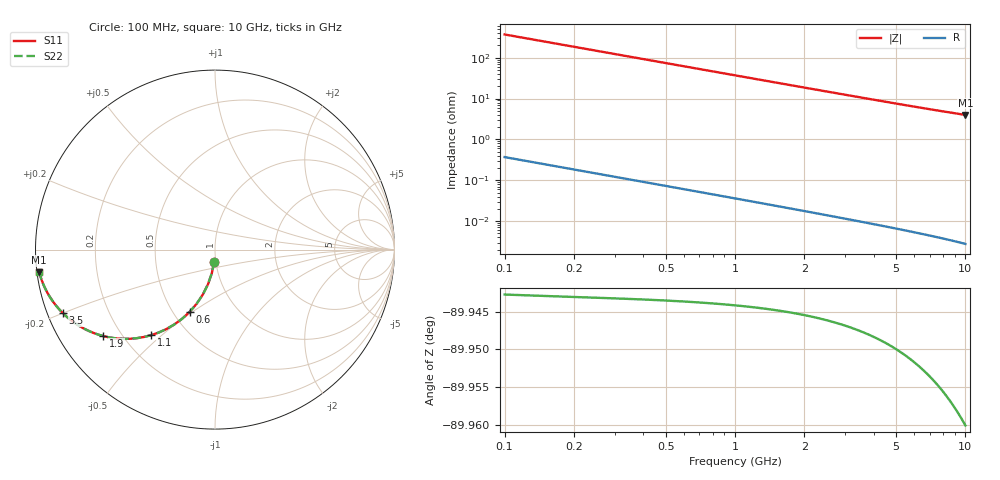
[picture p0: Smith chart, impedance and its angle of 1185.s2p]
# Hz S RI R 50.00
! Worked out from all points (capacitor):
!   100 points, 100 MHz to 10 GHz, reference 50 ohm
!   read as one part in shunt: C = 4.3 pF near 100 MHz
!   lowest |Z| = 3.99 ohm at 10 GHz (marker M1)
!   S11 on the Smith chart (normalised r, x): 100 MHz: 0.98, -0.13; 600 MHz: 0.60, -0.49; 1.1 GHz: 0.31, -0.46; 1.9 GHz: 0.13, -0.34; 3.5 GHz: 0.04, -0.20; 10 GHz: 0.01, -0.06
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1e8  -0.00458 -0.0672  0.9953 -0.0674  0.9953 -0.0674  -0.00458 -0.0672
2e8  -0.018 -0.1325  0.9819 -0.1331  0.9819 -0.1331  -0.018 -0.1325
3e8  -0.0397 -0.1944  0.9603 -0.1952  0.9603 -0.1952  -0.0397 -0.1944
4e8  -0.0683 -0.2514  0.9316 -0.2525  0.9316 -0.2525  -0.0683 -0.2514
5e8  -0.1028 -0.3025  0.8971 -0.3039  0.8971 -0.3039  -0.1028 -0.3025
6e8  -0.1415 -0.3473  0.8584 -0.3489  0.8584 -0.3489  -0.1415 -0.3473
8e8  -0.2265 -0.417  0.7734 -0.4192  0.7734 -0.4192  -0.2265 -0.417
9e8  -0.2704 -0.4424  0.7295 -0.4449  0.7295 -0.4449  -0.2704 -0.4424
1.1e9  -0.3562 -0.4769  0.6437 -0.4799  0.6437 -0.4799  -0.3562 -0.4769
1.4e9  -0.4725 -0.4968  0.5274 -0.5007  0.5274 -0.5007  -0.4725 -0.4968
1.8e9  -0.5968 -0.4875  0.4031 -0.4925  0.4031 -0.4925  -0.5968 -0.4875
1.9e9  -0.6225 -0.4816  0.3774 -0.4869  0.3774 -0.4869  -0.6225 -0.4816
2.2e9  -0.6885 -0.4595  0.3114 -0.4656  0.3114 -0.4656  -0.6885 -0.4595
2.6e9  -0.7553 -0.4258  0.2446 -0.433  0.2446 -0.433  -0.7553 -0.4258
3e9  -0.8043 -0.392  0.1956 -0.4004  0.1956 -0.4004  -0.8043 -0.392
3.4e9  -0.8407 -0.3606  0.1591 -0.3701  0.1591 -0.3701  -0.8407 -0.3606
3.5e9  -0.8483 -0.3532  0.1515 -0.363  0.1515 -0.363  -0.8483 -0.3532
4.2e9  -0.8896 -0.3068  0.1102 -0.3186  0.1102 -0.3186  -0.8896 -0.3068
5.1e9  -0.9225 -0.2594  0.0773 -0.2739  0.0773 -0.2739  -0.9225 -0.2594
6.7e9  -0.9538 -0.1994  0.0459 -0.2186  0.0459 -0.2186  -0.9538 -0.1994
8.4e9  -0.9703 -0.1563  0.0293 -0.1807  0.0293 -0.1807  -0.9703 -0.1563
1e10  -0.9791 -0.1269  0.0204 -0.1564  0.0204 -0.1564  -0.9791 -0.1269
